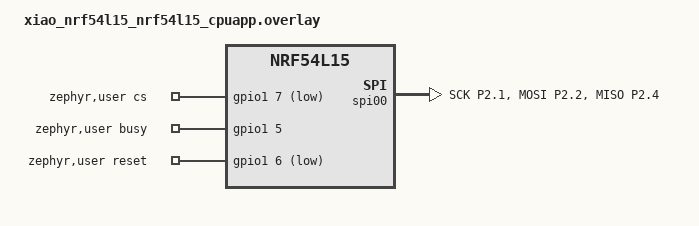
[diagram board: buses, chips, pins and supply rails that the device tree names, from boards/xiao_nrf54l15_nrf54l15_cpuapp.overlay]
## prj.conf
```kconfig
# Shared configuration for both roles. The role is a CMake option: -DROLE=TX builds the transmitter,
# and without it the build is RX.
CONFIG_SPI=y
CONFIG_GPIO=y
CONFIG_MAIN_STACK_SIZE=4096
```

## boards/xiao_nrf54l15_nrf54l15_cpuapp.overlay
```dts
/*
 * Pin map for the bare-metal probe on the Semtech LR2021 LoRa Plus EVK: a Seeed XIAO nRF54L15
 * carrying a Wio-LR2021 on the LoRa Plus expansion board.
 *
 * The wiring matches the RadioLib probe at the root of this repository and meshtastic/firmware's
 * xiao_nrf54l15_lr2021 variant, translated from Arduino header pins to nRF54L15 ports:
 *
 *   signal   XIAO pin   nRF54L15
 *   NSS      D3         P1.07
 *   BUSY     D1         P1.05
 *   NRESET   D2         P1.06
 *   SCK      D8         P2.01
 *   MISO     D9         P2.04
 *   MOSI     D10        P2.02
 *
 * DIO8 is wired to D0 (P1.04). The probe never uses it: it reads the IRQ status out of the status
 * bytes that start every SPI frame, which is also what RadioLib's getIrqStatus() does.
 *
 * The pinctrl groups below are spelled out rather than inherited from the board, so the file is
 * self-contained and independent of which SPI pins a given Zephyr board revision defaults to.
 *
 * west picks this file up automatically for -b xiao_nrf54l15/nrf54l15/cpuapp. For another board
 * target, copy it to boards/<target with / replaced by _>.overlay or pass it explicitly with
 * -DEXTRA_DTC_OVERLAY_FILE=boards/xiao_nrf54l15_nrf54l15_cpuapp.overlay.
 *
 * A wiring error cannot be mistaken for a radio result: GetVersion returns something other than
 * 0x01 0x18, or BUSY stays high, and the probe reports it and refuses to go on.
 */

/ {
	zephyr,user {
		spi-bus = <&spi00>;
		/* NSS: asserted by the application, one assert per command frame */
		cs-gpios = <&gpio1 7 GPIO_ACTIVE_LOW>;
		/* BUSY: high while the chip is processing a command */
		busy-gpios = <&gpio1 5 GPIO_ACTIVE_HIGH>;
		/* NRESET */
		reset-gpios = <&gpio1 6 GPIO_ACTIVE_LOW>;
	};
};

&pinctrl {
	spi00_probe_default: spi00_probe_default {
		group1 {
			psels = <NRF_PSEL(SPIM_SCK, 2, 1)>,
				<NRF_PSEL(SPIM_MOSI, 2, 2)>,
				<NRF_PSEL(SPIM_MISO, 2, 4)>;
		};
	};

	spi00_probe_sleep: spi00_probe_sleep {
		group1 {
			psels = <NRF_PSEL(SPIM_SCK, 2, 1)>,
				<NRF_PSEL(SPIM_MOSI, 2, 2)>,
				<NRF_PSEL(SPIM_MISO, 2, 4)>;
			low-power-enable;
		};
	};
};

&spi00 {
	status = "okay";
	pinctrl-0 = <&spi00_probe_default>;
	pinctrl-1 = <&spi00_probe_sleep>;
	pinctrl-names = "default", "sleep";
	/* NSS is a plain GPIO driven by the application, not a controller cs-gpios entry, so that one
	 * assert spans a whole command frame. */
};
```

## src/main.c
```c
/*
 * Zephyr port of the LR2021 coding-rate probe. Everything radio-specific is in lr2021_probe.c;
 * this file only wires six functions to Zephyr's SPI and GPIO APIs. There is no console input:
 * the receiver prints a line per reception and a summary every PROBE_SUMMARY_EVERY of them.
 *
 * Pins come from the /zephyr,user devicetree node in the board overlay, so no custom binding is
 * needed. Chip select is driven by hand rather than by the SPI driver, so that NSS stays asserted
 * for exactly one command frame - the LR2021 latches a command on the rising edge of NSS.
 *
 * Build one role or the other:
 *   west build -b <board> .                 # RX, the default
 *   west build -b <board> . -- -DROLE=TX    # TX
 */

#include <zephyr/device.h>
#include <zephyr/devicetree.h>
#include <zephyr/drivers/gpio.h>
#include <zephyr/drivers/spi.h>
#include <zephyr/kernel.h>
#include <zephyr/sys/printk.h>

#include "lr2021_probe.h"

#define ZUSER DT_PATH(zephyr_user)

#ifndef PROBE_SPI_HZ
#define PROBE_SPI_HZ 8000000
#endif
/* Print the summary line every this many receptions. */
#ifndef PROBE_SUMMARY_EVERY
#define PROBE_SUMMARY_EVERY 20
#endif
/* 1 = the first time the reported rate differs from the configured one, write the configured code
 * back into the packet-status nibble and keep going. Off by default: observe first. */
#ifndef PROBE_AUTO_CLEAR
#define PROBE_AUTO_CLEAR 0
#endif
/* 1 = log every SPI frame, not just the init sequence. Very chatty under traffic. */
#ifndef PROBE_TRACE_ALL
#define PROBE_TRACE_ALL 0
#endif

static const struct device *spi_bus = DEVICE_DT_GET(DT_PHANDLE(ZUSER, spi_bus));
static const struct gpio_dt_spec cs_gpio = GPIO_DT_SPEC_GET_BY_IDX(ZUSER, cs_gpios, 0);
static const struct gpio_dt_spec busy_gpio = GPIO_DT_SPEC_GET_BY_IDX(ZUSER, busy_gpios, 0);
static const struct gpio_dt_spec reset_gpio = GPIO_DT_SPEC_GET_BY_IDX(ZUSER, reset_gpios, 0);

static const struct spi_config spi_cfg = {
    .frequency = PROBE_SPI_HZ,
    .operation = SPI_OP_MODE_MASTER | SPI_WORD_SET(8) | SPI_TRANSFER_MSB,
    .slave = 0,
    /* .cs left zeroed: no controller-managed chip select, NSS is driven by hal_spi_xfer() */
};

static void hal_spi_xfer(const uint8_t *tx, uint8_t *rx, size_t len)
{
    const struct spi_buf tx_buf = {.buf = (void *)tx, .len = len};
    const struct spi_buf rx_buf = {.buf = rx, .len = len};
    const struct spi_buf_set tx_set = {.buffers = &tx_buf, .count = 1};
    const struct spi_buf_set rx_set = {.buffers = &rx_buf, .count = 1};

    gpio_pin_set_dt(&cs_gpio, 1); /* logical 1 asserts: the pin is declared active-low */
    int rc = spi_transceive(spi_bus, &spi_cfg, &tx_set, &rx_set);
    gpio_pin_set_dt(&cs_gpio, 0);

    if (rc != 0) {
        printk("! spi_transceive rc=%d\n", rc);
    }
}

static bool hal_busy_high(void)
{
    return gpio_pin_get_dt(&busy_gpio) == 1;
}

static void hal_reset_drive_low(bool low)
{
    gpio_pin_set_dt(&reset_gpio, low ? 1 : 0); /* declared active-low */
}

static void hal_delay_ms(uint32_t ms)
{
    k_msleep((int32_t)ms);
}

static uint32_t hal_millis(void)
{
    return (uint32_t)k_uptime_get_32();
}

static void hal_log_line(const char *line)
{
    printk("%s\n", line);
}

static const lr2021_hal_t probe_hal = {
    .spi_xfer = hal_spi_xfer,
    .busy_high = hal_busy_high,
    .reset_drive_low = hal_reset_drive_low,
    .delay_ms = hal_delay_ms,
    .millis = hal_millis,
    .log_line = hal_log_line,
};

static int pins_init(void)
{
    if (!device_is_ready(spi_bus)) {
        printk("! SPI bus not ready\n");
        return -1;
    }
    /* CS and NRESET idle de-asserted; both are declared active-low in the overlay */
    if (gpio_pin_configure_dt(&cs_gpio, GPIO_OUTPUT_INACTIVE) != 0 ||
        gpio_pin_configure_dt(&reset_gpio, GPIO_OUTPUT_INACTIVE) != 0 || gpio_pin_configure_dt(&busy_gpio, GPIO_INPUT) != 0) {
        printk("! GPIO configure failed\n");
        return -1;
    }
    return 0;
}

int main(void)
{
    k_msleep(500); /* let a USB console attach before the init trace goes out */

    if (pins_init() != 0) {
        return 0;
    }

#if PROBE_TRACE_ALL
    lr2021_probe_set_trace(true);
#endif

#if defined(PROBE_ROLE_TX)
    int rc = lr2021_probe_begin(&probe_hal, LR2021_ROLE_TX);
    if (rc != 0) {
        printk("! begin rc=%d\n", rc);
        return 0;
    }
    k_msleep(3000); /* give the receiver time to come up */
    for (;;) {
        rc = lr2021_probe_tx_sequence();
        if (rc != 0) {
            printk("! tx_sequence rc=%d\n", rc);
            return 0;
        }
        printk("# idle for 30 s, then the sequence runs again after a chip reset\n");
        k_msleep(30000);
        /* a fresh reset for each run, so every sequence starts from a clean receiver state when
         * both ends are power-cycled together */
        rc = lr2021_probe_begin(&probe_hal, LR2021_ROLE_TX);
        if (rc != 0) {
            printk("! re-begin rc=%d\n", rc);
            return 0;
        }
    }
#else
    int rc = lr2021_probe_begin(&probe_hal, LR2021_ROLE_RX);
    if (rc != 0) {
        printk("! begin rc=%d\n", rc);
        return 0;
    }

    uint32_t handled = 0;
    bool cleared_once = false;
    for (;;) {
        int got = lr2021_probe_rx_poll();
        if (got < 0) {
            printk("! rx_poll rc=%d\n", got);
            k_msleep(100);
            continue;
        }
        if (got == 0) {
            k_msleep(2);
            continue;
        }
        handled++;
        if (handled % PROBE_SUMMARY_EVERY == 0) {
            lr2021_probe_rx_summary();
        }
#if PROBE_AUTO_CLEAR
        if (!cleared_once && lr2021_probe_rx_last_cr() != lr2021_probe_configured_cr()) {
            (void)lr2021_probe_clear_cr_nibble();
            cleared_once = true;
        }
#else
        (void)cleared_once;
#endif
    }
#endif
    return 0;
}
```

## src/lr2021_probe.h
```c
/*
 * LR2021 coding-rate probe - no radio driver, no library.
 *
 * Every SPI frame this file sends is built here, byte by byte, so the whole command stream is
 * visible in one place and can be diffed against another driver's. The host port supplies six
 * functions through lr2021_hal_t; nothing else is needed.
 *
 * Protocol, from LR20xx datasheet rev 2.2 section 5.4:
 *   - a command is a 16-bit opcode, big-endian, followed by its arguments;
 *   - BUSY must be low before a frame starts;
 *   - a write is one frame;
 *   - a read is two frames: the first carries the opcode and arguments, then BUSY goes low when
 *     the reply is ready, and the second clocks it out. The second frame returns the 16 stat bits
 *     first, so the first two bytes are discarded and the reply bytes follow;
 *   - the radio FIFO read (opcode 0x0001) is the exception: one frame, no stat bytes, data
 *     follows the opcode directly (datasheet section 5.4.1.3, "Direct Read").
 */

#ifndef LR2021_PROBE_H
#define LR2021_PROBE_H

#include <stdbool.h>
#include <stddef.h>
#include <stdint.h>

/* The host port implements these. spi_xfer sends and receives one whole frame with NSS asserted
 * for its duration; tx and rx are both len bytes and either may alias a scratch buffer. */
typedef struct {
    void (*spi_xfer)(const uint8_t *tx, uint8_t *rx, size_t len);
    bool (*busy_high)(void);
    void (*reset_drive_low)(bool low);
    void (*delay_ms)(uint32_t ms);
    uint32_t (*millis)(void);
    void (*log_line)(const char *line);
} lr2021_hal_t;

typedef enum {
    LR2021_ROLE_RX = 0,
    LR2021_ROLE_TX = 1,
} lr2021_role_t;

/* Reset, identify and configure the chip for LoRa. Returns 0 on success, negative on failure.
 * The sequence mirrors RadioLib's LR2021::begin() command for command; see lr2021_probe.c. */
int lr2021_probe_begin(const lr2021_hal_t *hal, lr2021_role_t role);

/* RX: poll once. Handles at most one reception per call and logs a line for it.
 * Returns 1 if a reception was handled, 0 if not, negative on an SPI error. */
int lr2021_probe_rx_poll(void);

/* RX: print the running summary, or write the configured coding rate back into the packet-status
 * nibble. The write is a mechanism experiment, not a fix: the address is undocumented, and
 * nothing should ship a write to it. */
void lr2021_probe_rx_summary(void);
int lr2021_probe_clear_cr_nibble(void);

/* The coding rate the chip reported for the last reception, and the one both ends are configured
 * for. 0xFF means nothing has been received yet. */
uint8_t lr2021_probe_rx_last_cr(void);
uint8_t lr2021_probe_configured_cr(void);

/* TX: run the five-phase sequence once. Blocks for roughly fifteen seconds. */
int lr2021_probe_tx_sequence(void);

/* Log every SPI frame in hex. Off by default; the init trace is printed regardless. */
void lr2021_probe_set_trace(bool on);

#endif /* LR2021_PROBE_H */
```
